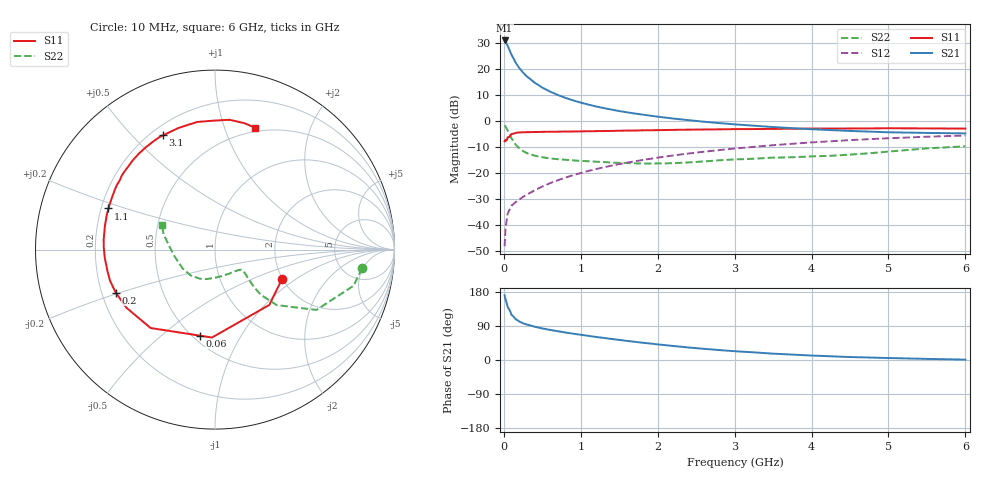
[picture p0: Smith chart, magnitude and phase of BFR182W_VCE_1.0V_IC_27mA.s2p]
! (c) 2017  Infineon Technologies AG, Munich
! Infineon Technologies  Discrete & RF Semiconductors
! BFR182W
! VCE =  1.0 V,  IC =  27 mA
! Common Emitter S-Parameters:  Jan 2017
# GHz  S  MA  R  50
!  f  S11  S21  S12  S22
! GHz  MAG  ANG  MAG  ANG  MAG  ANG  MAG  ANG
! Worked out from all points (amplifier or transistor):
!   77 points, 10 MHz to 6 GHz, reference 50 ohm
!   highest |S21| = 31.0 dB at 10 MHz (marker M1)
!   |S21| within 3 dB of that: start of sweep to 63.58 MHz
!   unconditionally stable (mu >= 1): 266.2 MHz to end of sweep
!   at 130 MHz: K = 0.68, MSG = 27.8 dB, |S12| = -31.8 dB
!   at 2.2 GHz: K = 1.15, MAG = 4.8 dB, |S12| = -13.3 dB
!   at 6 GHz: K = 1.08, MAG = -1.3 dB, |S12| = -5.6 dB
!   S11 on the Smith chart (normalised r, x): 10 MHz: 1.99, -0.78; 60 MHz: 0.54, -0.68; 200 MHz: 0.26, -0.19; 1.1 GHz: 0.23, +0.18; 3.1 GHz: 0.25, +0.62; 6 GHz: 0.46, +1.28
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0.01  0.4076 -23.7  35.63 170.6  0.0039 75.6  0.8259 -7.2
0.02  0.432 -45.5  34.93 161.7  0.0076 75.6  0.7982 -14.6
0.05  0.4903 -92.0  27.98 139.8  0.0164 59.4  0.6578 -30.7
0.06  0.4869 -100.1  25.94 136.9  0.0178 57.4  0.6173 -32.4
0.1  0.5653 -129.4  18.82 119.2  0.0234 51.6  0.4627 -42.0
0.15  0.5905 -146.8  13.59 108.5  0.0272 50.5  0.3567 -44.6
0.2  0.6027 -156.6  10.53 101.8  0.0307 53.0  0.299 -43.8
0.25  0.6099 -163.4  8.568 96.9  0.0347 54.2  0.2645 -42.2
0.3  0.6108 -168.3  7.193 93.5  0.0383 56.8  0.2412 -40.8
0.4  0.6156 -175.4  5.474 87.7  0.0462 60.7  0.2154 -38.5
0.5  0.6195 179.2  4.402 83.3  0.0548 63.4  0.2007 -37.5
0.6  0.6227 175.0  3.695 79.5  0.0637 65.6  0.1908 -37.1
0.7  0.6238 171.4  3.182 76.0  0.0723 66.9  0.1845 -37.5
0.9  0.6294 164.9  2.496 69.5  0.0906 68.1  0.1752 -40.4
1.1  0.6362 158.9  2.072 63.7  0.1097 68.3  0.1688 -44.5
1.5  0.6511 148.7  1.557 53.0  0.148 67.0  0.1567 -56.3
2.1  0.6719 134.7  1.165 39.2  0.2072 62.9  0.1531 -81.6
2.6  0.6878 124.3  0.971 29.5  0.2566 58.3  0.1672 -103.1
3.1  0.6993 114.4  0.844 22.0  0.3048 53.0  0.1846 -120.8
4.1  0.7172 96.3  0.686 11.0  0.3963 41.9  0.2105 -154.4
5.1  0.7261 82.3  0.605 4.8  0.4729 30.1  0.2656 172.1
6  0.7153 71.8  0.578 1.0  0.5268 20.0  0.3264 155.3
